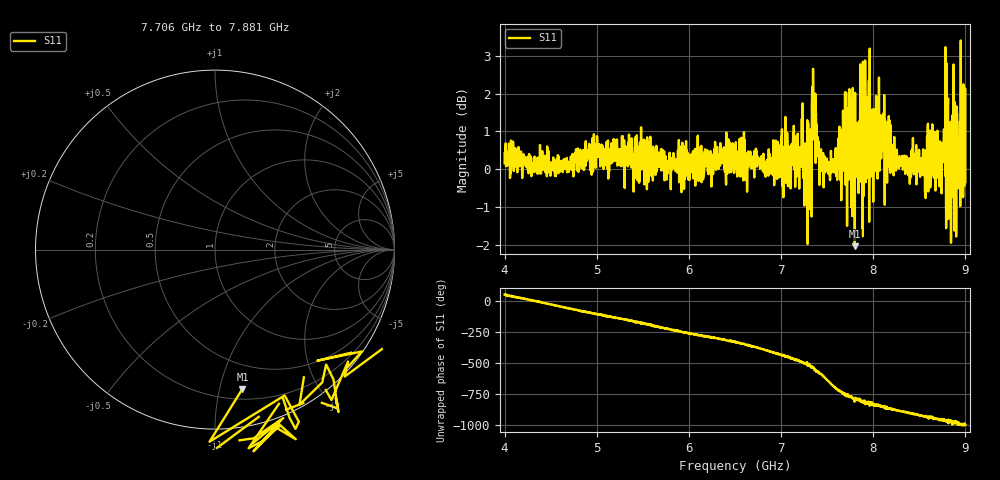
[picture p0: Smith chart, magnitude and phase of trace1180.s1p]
! Created with skrf 1.8.0 (http://scikit-rf.org).
# Hz S RI R 50.0
!freq ReS11 ImS11
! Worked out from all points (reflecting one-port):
!   1601 points, 4 GHz to 9 GHz, reference 50 ohm
!   lowest |S11| = -2.0 dB at 7.8 GHz (marker M1), VSWR 8.57, Z = 14.2 - j58.8 ohm
!   phase of S11 starts at 52 deg and turns -1049 deg over the sweep
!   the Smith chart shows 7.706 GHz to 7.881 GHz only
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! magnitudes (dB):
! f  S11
! 4 GHz  0.2
! 4.625 GHz  0.0
! 5.25 GHz  0.2
! 5.875 GHz  0.1
! 6.5 GHz  0.2
! 6.819 GHz  0.1
! 7.125 GHz  0.6
! 7.306 GHz  1.0
! 7.359 GHz  2.0
! 7.441 GHz  0.3
! 7.575 GHz  0.1
! 7.681 GHz  0.0
! 7.75 GHz  1.0
! 7.784 GHz  0.2
! 7.8 GHz  -2.0
! 7.891 GHz  0.9
! 7.909 GHz  1.0
! 7.938 GHz  1.4
! 7.997 GHz  0.2
! 8.097 GHz  0.6
! 8.375 GHz  0.1
! 8.7 GHz  0.3
! 8.788 GHz  0.0
! 8.841 GHz  1.3
! 8.872 GHz  2.8
! 8.919 GHz  0.0
! 8.972 GHz  0.2
! 9 GHz  -0.3
